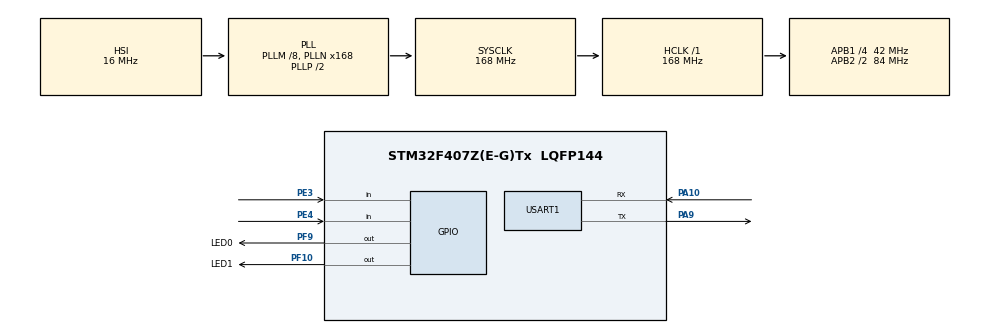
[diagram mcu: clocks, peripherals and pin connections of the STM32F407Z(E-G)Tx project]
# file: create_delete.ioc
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FREERTOS.Tasks01=StartTask,0,128,StartDefaultTask,Default,NULL,Dynamic,NULL,NULL
Mcu.Family=STM32F4
Mcu.Name=STM32F407Z(E-G)Tx
Mcu.Package=LQFP144
NVIC.PriorityGroup=NVIC_PRIORITYGROUP_4
NVIC.TIM1_UP_TIM10_IRQn=true\:15\:0\:false\:false\:true\:false\:false\:true\:true
NVIC.TimeBase=TIM1_UP_TIM10_IRQn
NVIC.TimeBaseIP=TIM1
PA10.Mode=Asynchronous
PA10.Signal=USART1_RX
PA13.Mode=Serial_Wire
PA13.Signal=SYS_JTMS-SWDIO
PA14.Mode=Serial_Wire
PA14.Signal=SYS_JTCK-SWCLK
PA9.Mode=Asynchronous
PA9.Signal=USART1_TX
PC14-OSC32_IN.Mode=LSE-External-Oscillator
PC14-OSC32_IN.Signal=RCC_OSC32_IN
PC15-OSC32_OUT.Mode=LSE-External-Oscillator
PC15-OSC32_OUT.Signal=RCC_OSC32_OUT
PE3.GPIO_PuPd=GPIO_PULLUP
PE3.Signal=GPIO_Input
PE4.GPIO_PuPd=GPIO_PULLUP
PE4.Signal=GPIO_Input
PF10.GPIO_Label=LED1
PF10.PinState=GPIO_PIN_SET
PF10.Signal=GPIO_Output
PF9.GPIO_Label=LED0
PF9.PinState=GPIO_PIN_SET
PF9.Signal=GPIO_Output
PH0-OSC_IN.Mode=HSE-External-Oscillator
PH0-OSC_IN.Signal=RCC_OSC_IN
PH1-OSC_OUT.Mode=HSE-External-Oscillator
PH1-OSC_OUT.Signal=RCC_OSC_OUT
ProjectManager.HeapSize=0x200
ProjectManager.StackSize=0x400
ProjectManager.TargetToolchain=MDK-ARM V5.32
RCC.48MHZClocksFreq_Value=84000000
RCC.AHBFreq_Value=168000000
RCC.APB1CLKDivider=RCC_HCLK_DIV4
RCC.APB1Freq_Value=42000000
RCC.APB1TimFreq_Value=84000000
RCC.APB2CLKDivider=RCC_HCLK_DIV2
RCC.APB2Freq_Value=84000000
RCC.APB2TimFreq_Value=168000000
RCC.CortexFreq_Value=168000000
RCC.HCLKFreq_Value=168000000
RCC.HSE_VALUE=8000000
RCC.HSI_VALUE=16000000
RCC.PLLM=8
RCC.PLLN=168
RCC.SYSCLKFreq_VALUE=168000000
RCC.SYSCLKSource=RCC_SYSCLKSOURCE_PLLCLK
RCC.VCOOutputFreq_Value=336000000
USART1.VirtualMode=VM_ASYNC
VP_FREERTOS_VS_CMSIS_V1.Mode=CMSIS_V1
VP_SYS_VS_tim1.Mode=TIM1
board=custom

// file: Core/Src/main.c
/* USER CODE BEGIN Header */
/**
  ******************************************************************************
  * @file           : main.c
  * @brief          : Main program body
  ******************************************************************************
  * @attention
  *
  * Copyright (c) 2025 STMicroelectronics.
  * All rights reserved.
  *
  * This software is licensed under terms that can be found in the LICENSE file
  * in the root directory of this software component.
  * If no LICENSE file comes with this software, it is provided AS-IS.
  *
  ******************************************************************************
  */
/* USER CODE END Header */
#include "main.h"
#include "cmsis_os.h"
#include "usart.h"
#include "gpio.h"
#include "dma.h"

void SystemClock_Config(void);
void MX_FREERTOS_Init(void);

/* USER CODE BEGIN 0 */
void User_Key_NVIC_Config(void)
{
  HAL_NVIC_SetPriority(EXTI4_IRQn, 5, 0);
    HAL_NVIC_EnableIRQ(EXTI4_IRQn);
}
/* USER CODE END 0 */

int main(void)
{

  /* MCU Configuration--------------------------------------------------------*/

  /* Reset of all peripherals, Initializes the Flash interface and the Systick. */
  HAL_Init();

  /* Configure the system clock */
  SystemClock_Config();

  /* Initialize all configured peripherals */
  MX_GPIO_Init();
  MX_USART1_UART_Init();
  User_DMA_Config();
  /* USER CODE BEGIN 2 */
  User_Key_NVIC_Config();
  /* USER CODE END 2 */

  /* Call init function for freertos objects (in cmsis_os2.c) */
  MX_FREERTOS_Init();

  /* Start scheduler */
  osKernelStart();

  /* We should never get here as control is now taken by the scheduler */

  /* Infinite loop */
  while (1)
  {

  }
}

void SystemClock_Config(void)
{
  RCC_OscInitTypeDef RCC_OscInitStruct = {0};
  RCC_ClkInitTypeDef RCC_ClkInitStruct = {0};

  /** Configure the main internal regulator output voltage
  */
  __HAL_RCC_PWR_CLK_ENABLE();
  __HAL_PWR_VOLTAGESCALING_CONFIG(PWR_REGULATOR_VOLTAGE_SCALE1);

  /** Initializes the RCC Oscillators according to the specified parameters
  * in the RCC_OscInitTypeDef structure.
  */
  RCC_OscInitStruct.OscillatorType = RCC_OSCILLATORTYPE_HSI;
  RCC_OscInitStruct.HSIState = RCC_HSI_ON;
  RCC_OscInitStruct.HSICalibrationValue = RCC_HSICALIBRATION_DEFAULT;
  RCC_OscInitStruct.PLL.PLLState = RCC_PLL_ON;
  RCC_OscInitStruct.PLL.PLLSource = RCC_PLLSOURCE_HSI;
  RCC_OscInitStruct.PLL.PLLM = 8;
  RCC_OscInitStruct.PLL.PLLN = 168;
  RCC_OscInitStruct.PLL.PLLP = RCC_PLLP_DIV2;
  RCC_OscInitStruct.PLL.PLLQ = 4;
  if (HAL_RCC_OscConfig(&RCC_OscInitStruct) != HAL_OK)
  {
    Error_Handler();
  }

  /** Initializes the CPU, AHB and APB buses clocks
  */
  RCC_ClkInitStruct.ClockType = RCC_CLOCKTYPE_HCLK|RCC_CLOCKTYPE_SYSCLK
                              |RCC_CLOCKTYPE_PCLK1|RCC_CLOCKTYPE_PCLK2;
  RCC_ClkInitStruct.SYSCLKSource = RCC_SYSCLKSOURCE_PLLCLK;
  RCC_ClkInitStruct.AHBCLKDivider = RCC_SYSCLK_DIV1;
  RCC_ClkInitStruct.APB1CLKDivider = RCC_HCLK_DIV4;
  RCC_ClkInitStruct.APB2CLKDivider = RCC_HCLK_DIV2;

  if (HAL_RCC_ClockConfig(&RCC_ClkInitStruct, FLASH_LATENCY_5) != HAL_OK)
  {
    Error_Handler();
  }
}

void HAL_TIM_PeriodElapsedCallback(TIM_HandleTypeDef *htim)
{
  if (htim->Instance == TIM1)
  {
    HAL_IncTick();
  }
}

void Error_Handler(void)
{
  /* USER CODE BEGIN Error_Handler_Debug */
  printf("error occur!\r\n");
  /* User can add his own implementation to report the HAL error return state */
  __disable_irq();
  while (1)
  {
  }
  /* USER CODE END Error_Handler_Debug */
}

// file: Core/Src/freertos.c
/* USER CODE BEGIN Header */
/**
 ******************************************************************************
 * File Name          : freertos.c
 * Description        : Code for freertos applications
 ******************************************************************************
 * @attention
 *
 * Copyright (c) 2025 STMicroelectronics.
 * All rights reserved.
 *
 * This software is licensed under terms that can be found in the LICENSE file
 * in the root directory of this software component.
 * If no LICENSE file comes with this software, it is provided AS-IS.
 *
 ******************************************************************************
 */
/* USER CODE END Header */

#include "FreeRTOS.h"
#include "task.h"
#include "main.h"
#include "cmsis_os.h"

/* USER CODE BEGIN Includes */
#include "string.h"
#include "stdio.h"
#include "semphr.h"
#include "usart.h"
#include "timer.h"
/* USER CODE END Includes */

/* USER CODE BEGIN PTD */
typedef struct
{
  uint16_t len;         // 长度
  uint8_t payload[512]; // 数据本体
} UartPacket_t;

typedef struct
{
  const char *cmd_name;
  void (*cmd_func)(int argc, char *argv[]);
  const char *help_info;
} ShellCommand_t;
/* USER CODE END PTD */

/* USER CODE BEGIN PD */
#define RX_BUF_SIZE 512
/* USER CODE END PD */

/* USER CODE BEGIN Variables */
volatile int flag[2] = {1, 1};
uint8_t send_data[256];
uint8_t handle_data[50];
uint8_t rx_byte;
uint8_t RxBuffer[RX_BUF_SIZE];
UartPacket_t msg;

TaskHandle_t LED0_Handle; // 原生句柄
TaskHandle_t LED1_Handle;
TaskHandle_t KEY0_Handle;
TaskHandle_t KEY1_Handle;
TaskHandle_t USART_Handle;
TaskHandle_t USART_Shell_Task_Handle;
TaskHandle_t Task_Monitor_Handle;
TaskHandle_t MonitorCPU_Task_Handle;

SemaphoreHandle_t myBinarySem_Handle;
SemaphoreHandle_t myQueue;
SemaphoreHandle_t myMutex;
SemaphoreHandle_t mybufferQueue;
SemaphoreHandle_t Transmit_flag;

void LED0_Entry(void *pvParameters); // 函数声明
void LED1_Entry(void *pvParameters);
void KEY0_Entry(void *pvParameters);
void KEY1_Entry(void *pvParameters);
void USART_Shell_Task_Entry(void *pvParameters);
void USART_Receive_Entry(void *pvParameters);
void DMA_Send_Entry(uint8_t *data, uint16_t len);
void Task_Monitor_Entry(void *pvParameters);
void Cmd_Help(int argc, char *argv[]);
void Cmd_LED(int argc, char *argv[]);
void Execute_Command(int argc, char *argv[]);

const ShellCommand_t CmdTable[] = {
    {"help", Cmd_Help, "<Show help info>"},
    {"led", Cmd_LED, "<Control LED: led 0/1 on/off>"},
    {NULL, NULL, NULL} // 结束标记
};

/* USER CODE END Variables */
osThreadId StartTaskHandle;

void StartDefaultTask(void const *argument);

void MX_FREERTOS_Init(void); /* (MISRA C 2004 rule 8.1) */

/* GetIdleTaskMemory prototype (linked to static allocation support) */
void vApplicationGetIdleTaskMemory(StaticTask_t **ppxIdleTaskTCBBuffer, StackType_t **ppxIdleTaskStackBuffer, uint32_t *pulIdleTaskStackSize);

/* USER CODE BEGIN GET_IDLE_TASK_MEMORY */
static StaticTask_t xIdleTaskTCBBuffer;
static StackType_t xIdleStack[configMINIMAL_STACK_SIZE];

void vApplicationGetIdleTaskMemory(StaticTask_t **ppxIdleTaskTCBBuffer, StackType_t **ppxIdleTaskStackBuffer, uint32_t *pulIdleTaskStackSize)
{
  *ppxIdleTaskTCBBuffer = &xIdleTaskTCBBuffer;
  *ppxIdleTaskStackBuffer = &xIdleStack[0];
  *pulIdleTaskStackSize = configMINIMAL_STACK_SIZE;
  /* place for user code */
}
/* USER CODE END GET_IDLE_TASK_MEMORY */

void MX_FREERTOS_Init(void)
{
  /* USER CODE BEGIN Init */

  xTaskCreate((TaskFunction_t)LED0_Entry,
              (const char *)"LED0",
              (uint16_t)128,
              (void *)NULL,
              (UBaseType_t)2, // 假设优先级为 2
              (TaskHandle_t *)&LED0_Handle);

  xTaskCreate((TaskFunction_t)LED1_Entry,
              (const char *)"LED1",
              (uint16_t)128,
              (void *)NULL,
              (UBaseType_t)2,
              (TaskHandle_t *)&LED1_Handle);

  xTaskCreate((TaskFunction_t)KEY0_Entry,
              (const char *)"KEY0",
              (uint16_t)128,
              (void *)NULL,
              (UBaseType_t)2,
              (TaskHandle_t *)&KEY0_Handle);

  xTaskCreate((TaskFunction_t)KEY1_Entry,
              (const char *)"KEY1",
              (uint16_t)128,
              (void *)NULL,
              (UBaseType_t)2,
              (TaskHandle_t *)&KEY1_Handle);

  xTaskCreate((TaskFunction_t)USART_Receive_Entry,
              (const char *)"USART_Receive",
              (uint16_t)512,
              (void *)NULL,
              (UBaseType_t)2,
              (TaskHandle_t *)&USART_Handle);

  xTaskCreate((TaskFunction_t)USART_Shell_Task_Entry,
              (const char *)"USART_Send",
              (uint16_t)512,
              (void *)NULL,
              (UBaseType_t)2,
              (TaskHandle_t *)&USART_Shell_Task_Handle);

  xTaskCreate((TaskFunction_t)Task_Monitor_Entry,
              (const char *)"Task_Monitor",
              (uint16_t)512,
              (void *)NULL,
              (UBaseType_t)31,
              (TaskHandle_t *)&Task_Monitor_Handle);

  myBinarySem_Handle = xSemaphoreCreateBinary();
  myQueue = xQueueCreate(1, sizeof(UartPacket_t));
  mybufferQueue = xQueueCreate(128, sizeof(uint16_t));
  myMutex = xSemaphoreCreateMutex();
  Transmit_flag = xSemaphoreCreateBinary();
  xSemaphoreGive(Transmit_flag);
  if (myBinarySem_Handle == NULL)
  {
    printf("Create Error!\r\n");
  }
  HAL_UARTEx_ReceiveToIdle_DMA(&huart1, RxBuffer, RX_BUF_SIZE);
  __HAL_DMA_DISABLE_IT(huart1.hdmarx, DMA_IT_HT);
  /* USER CODE END Init */

  /* Create the thread(s) */
  /* definition and creation of StartTask */
  osThreadDef(StartTask, StartDefaultTask, osPriorityNormal, 0, 128);
  StartTaskHandle = osThreadCreate(osThread(StartTask), NULL);

}

void StartDefaultTask(void const *argument)
{
  for (;;)
  {
    osDelay(1);
  }
}

/* USER CODE BEGIN Application */
void Task_Monitor_Entry(void *pvParameters)
{

  UBaseType_t stack_remain;
  size_t heap_remain;
  char *pcWriteBuffer = pvPortMalloc(512);

  for (;;)
  {

    printf("\r\n========== System Monitor ==========\r\n");

    // 1. 检查 LED 任务的堆栈
    // 注意：CMSIS V1 里 osThreadId 就是 TaskHandle_t
    stack_remain = uxTaskGetStackHighWaterMark(LED0_Handle);
    printf("LED Task Stack Remain: %ld Words\r\n", stack_remain);

    // 2. 检查 串口 任务的堆栈
    stack_remain = uxTaskGetStackHighWaterMark(USART_Shell_Task_Handle);
    printf("UART Task Stack Remain: %ld Words\r\n", stack_remain);

    // 3. 检查系统总内存
    heap_remain = xPortGetFreeHeapSize();
    printf("System Heap Remain: %d Bytes\r\n", heap_remain);

    printf("====================================\r\n");
    if (pcWriteBuffer != NULL)
    {
      // 获取统计信息字符串
      vTaskGetRunTimeStats(pcWriteBuffer);

      // 打印
      printf("==================================\r\n");
      printf("Task          Abs Time      %% Time\r\n");
      printf("----------------------------------\r\n");
      printf("%s", pcWriteBuffer);
      printf("==================================\r\n");
    }
    vTaskDelay(pdMS_TO_TICKS(5000));
  }
}

void LED0_Entry(void *pvParameters)
{
  for (;;)
  {
    // 1. 死等信号量（被中断唤醒）
    if (xSemaphoreTake(myBinarySem_Handle, portMAX_DELAY) == pdTRUE)
    {
      // 2. 醒来后，先延时 20ms (避开抖动期)
      vTaskDelay(pdMS_TO_TICKS(20));

      // 3. 再次确认引脚电平 (确认真的按下了，而不是误触)
      // 注意：KEY1 (PE3) 是低电平有效
      if (HAL_GPIO_ReadPin(GPIOE, GPIO_PIN_4) == GPIO_PIN_RESET)
      {
        // 真的按下了，执行业务
        printf("LED Toggled!\r\n");
        HAL_GPIO_TogglePin(LED0_GPIO_Port, LED0_Pin);

        // 4. 【重要】加一个长延时，防止连击
        // 比如 200ms 内不准再按
        vTaskDelay(pdMS_TO_TICKS(200));

        // 5. 【进阶技巧】清空信号量
        // 如果在延时期间中断又给了一次信号量，这里可以把它清掉，防止循环回去又执行一次
        xQueueReset((QueueHandle_t)myBinarySem_Handle);
      }
    }
  }
}
void LED1_Entry(void *pvParameters)
{
  vTaskSuspend(NULL);
  for (;;)
  {
    HAL_GPIO_TogglePin(LED1_GPIO_Port, LED1_Pin);
    vTaskDelay(pdMS_TO_TICKS(500));
  }
}

void KEY0_Entry(void *pvParameters)
{
  vTaskSuspend(NULL);
  for (;;)
  {
    //        HAL_GPIO_TogglePin(LED1_GPIO_Port, LED1_Pin);
    if (HAL_GPIO_ReadPin(GPIOE, GPIO_PIN_4) == GPIO_PIN_RESET)
    {
      vTaskDelay(pdMS_TO_TICKS(20)); // 简单的消抖
      if (HAL_GPIO_ReadPin(GPIOE, GPIO_PIN_4) == GPIO_PIN_RESET)
      {
        // 按下 KEY0：点亮 LED0 (置低电平)，发送串口消息
        // 串口发送

        printf("KEY0 Pressed! \r\n");
        xSemaphoreGive(myBinarySem_Handle);

        while (HAL_GPIO_ReadPin(GPIOE, GPIO_PIN_4) == GPIO_PIN_RESET)
        {
          // 这里什么都不用写，就是为了卡住 CPU
        }
        vTaskDelay(pdMS_TO_TICKS(20));
      }
    }
    vTaskDelay(pdMS_TO_TICKS(10));
  }
}
void KEY1_Entry(void *pvParameters)
{
  vTaskSuspend(NULL);
  for (;;)
  {
    if (HAL_GPIO_ReadPin(GPIOE, GPIO_PIN_3) == GPIO_PIN_RESET)
    {
      HAL_Delay(20); // 简单的消抖
      if (HAL_GPIO_ReadPin(GPIOE, GPIO_PIN_3) == GPIO_PIN_RESET)
      {
        // 按下 KEY0：点亮 LED0 (置低电平)，发送串口消息
        // 串口发送
        printf("KEY1 Pressed! \r\n");
        flag[1] = 0;
        while (HAL_GPIO_ReadPin(GPIOE, GPIO_PIN_3) == GPIO_PIN_RESET)
        {
          // 这里什么都不用写，就是为了卡住 CPU
        }
        vTaskDelay(pdMS_TO_TICKS(20));
      }
    }
    vTaskDelay(pdMS_TO_TICKS(10));
  }
}

void USART_Receive_Entry(void *pvParameters)
{
  vTaskSuspend(NULL);
  UartPacket_t recv_pkg;
  for (;;)
  {
    if (xQueueReceive(myQueue, &recv_pkg, portMAX_DELAY) == pdTRUE)
    {
      xSemaphoreTake(myMutex, portMAX_DELAY);
      printf("ernter entry\r\n");
      xSemaphoreGive(myMutex);

      if (recv_pkg.len < RX_BUF_SIZE)
        recv_pkg.payload[recv_pkg.len] = '\0'; // 必须加，否则printf会停不下来

      xSemaphoreTake(myMutex, portMAX_DELAY);
      printf("DMA Recv (%d bytes): %s\r\n", recv_pkg.len, recv_pkg.payload);
      xSemaphoreGive(myMutex);
    }
  }
}
void Cmd_LED(int argc, char *argv[])
{

  if(strcmp(argv[1],"on")==0)
  {
    HAL_GPIO_WritePin(LED0_GPIO_Port,LED0_Pin,GPIO_PIN_RESET);
  }
  else if(strcmp(argv[1],"off")==0)
  {
    HAL_GPIO_WritePin(LED0_GPIO_Port,LED0_Pin,GPIO_PIN_SET);
  }
  else
  {
    printf("what do you want to do? \r\n");
  }

}
void Cmd_Help(int argc, char *argv[])
{
  uint8_t i=0;
  printf("Now there are several commands are supported: \r\n");
  while(CmdTable[i].cmd_name!=NULL)
  {
    printf("%s  %s\r\n",CmdTable[i].cmd_name,CmdTable[i].help_info);
    i++;
  }
}
void USART_Shell_Task_Entry(void *pvParameters)
{
  UartPacket_t recv_pkg;
  int argc = 0;
  char *argv[10];
  char *token = NULL;

  for (;;)
  {
    if (xQueueReceive(myQueue, &recv_pkg, portMAX_DELAY) == pdTRUE)
    {
      if (xSemaphoreTake(Transmit_flag, portMAX_DELAY) == pdTRUE)
      {
        uint16_t len = recv_pkg.len;
        memcpy(handle_data, recv_pkg.payload, len);
        handle_data[len] = '\0'; // copy到缓存中

        token = strtok(handle_data, " ");
        while (token != NULL)
        {
          argv[argc] = token;
          token = strtok(NULL, " ");
          argc++;
        }

        if (argc > 0)
        {
          Execute_Command(argc,argv);
          xSemaphoreGive(Transmit_flag);
        }

        argc = 0;
        //       printf("Parsed count: %d\r\n", argc);
        //       for(int i = 0; i < argc; i++)
        // {
        //     // %d 是索引，%s 是字符串
        //     printf("argv[%d]: %s\r\n", i, argv[i]);
        // }
        // printf("--------------------\r\n");
        // HAL_UART_Transmit_DMA(&huart1,handle_data,len+1);
      }
    }
  }
}
void Execute_Command(int argc, char *argv[])
{
  uint8_t j=0;
  while (CmdTable[j].cmd_name != NULL)
  {
    if (strcmp(CmdTable[j].cmd_name, argv[0]) == 0)
    {
      CmdTable[j].cmd_func(argc, argv);
      return;
    }
    j++;
  }
  printf("Unknown Command: %s\r\n", argv[0]);

  j = 0;
}

void HAL_GPIO_EXTI_Callback(uint16_t GPIO_Pin)
{

  if (GPIO_Pin == GPIO_PIN_4)
  {
    BaseType_t xHigherPriorityTaskWoken = pdFALSE;
    xSemaphoreGiveFromISR(myBinarySem_Handle, &xHigherPriorityTaskWoken);
    portYIELD_FROM_ISR(xHigherPriorityTaskWoken);
  }
}
void HAL_UARTEx_RxEventCallback(UART_HandleTypeDef *huart, uint16_t Size)
{

  if (huart->Instance == USART1)
  {
    BaseType_t xHigherPriorityTaskWoken = pdFALSE;

    msg.len = Size;
    memcpy(msg.payload, RxBuffer, Size);
    xQueueSendFromISR(myQueue, &msg, &xHigherPriorityTaskWoken);

    HAL_UARTEx_ReceiveToIdle_DMA(&huart1, RxBuffer, RX_BUF_SIZE);
    __HAL_DMA_DISABLE_IT(huart1.hdmarx, DMA_IT_HT);
    portYIELD_FROM_ISR(xHigherPriorityTaskWoken);
  }
}

void HAL_UART_TxCpltCallback(UART_HandleTypeDef *huart)
{
  if (huart->Instance == USART1)
  {
    BaseType_t xHigherPriorityTaskWoken = pdFALSE;
    xSemaphoreGiveFromISR(Transmit_flag, &xHigherPriorityTaskWoken);

    portYIELD_FROM_ISR(xHigherPriorityTaskWoken);
  }
}

void vApplicationStackOverflowHook(TaskHandle_t xTask, char *pcTaskName)
{
  // 如果进了这里，说明爆栈了！
  HAL_GPIO_TogglePin(LED0_GPIO_Port, LED0_Pin);

  __disable_irq();
  while (1)
    ; // 卡死在这里，方便你发现
}
/* USER CODE END Application */
